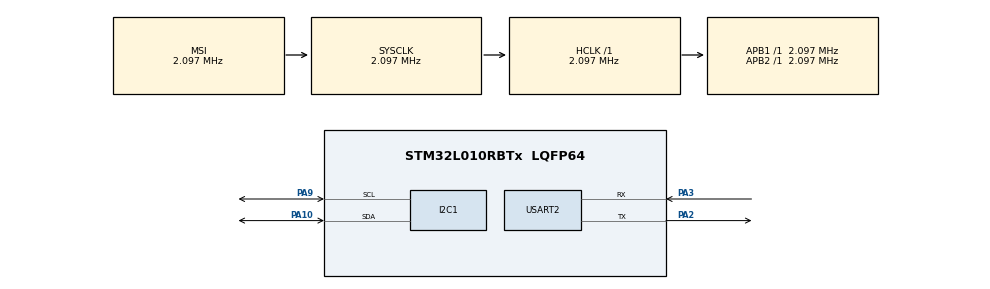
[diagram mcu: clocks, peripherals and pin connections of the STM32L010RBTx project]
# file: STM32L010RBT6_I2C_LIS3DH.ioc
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I2C1.Timing=0x00000608
Mcu.Family=STM32L0
Mcu.Name=STM32L010RBTx
Mcu.Package=LQFP64
PA10.Mode=I2C
PA10.Signal=I2C1_SDA
PA2.Mode=Asynchronous
PA2.Signal=USART2_TX
PA3.Mode=Asynchronous
PA3.Signal=USART2_RX
PA9.Mode=I2C
PA9.Signal=I2C1_SCL
ProjectManager.HeapSize=0x200
ProjectManager.StackSize=0x400
ProjectManager.TargetToolchain=STM32CubeIDE
RCC.AHBFreq_Value=2097000
RCC.APB1Freq_Value=2097000
RCC.APB1TimFreq_Value=2097000
RCC.APB2Freq_Value=2097000
RCC.APB2TimFreq_Value=2097000
RCC.HSE_VALUE=8000000
RCC.HSI16_VALUE=16000000
RCC.HSI_VALUE=16000000
RCC.LSE_VALUE=32768
RCC.MSI_VALUE=2097000
RCC.SYSCLKFreq_VALUE=2097000
RCC.VCOOutputFreq_Value=48000000
USART2.VirtualMode-Asynchronous=VM_ASYNC
board=custom

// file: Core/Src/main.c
/* USER CODE BEGIN Header */
/**
  ******************************************************************************
  * @file           : main.c
  * @brief          : Main program body
  ******************************************************************************
  * @attention
  *
  * Copyright (c) 2025 STMicroelectronics.
  * All rights reserved.
  *
  * This software is licensed under terms that can be found in the LICENSE file
  * in the root directory of this software component.
  * If no LICENSE file comes with this software, it is provided AS-IS.
  *
  ******************************************************************************
  */
/* USER CODE END Header */
#include "main.h"

/* USER CODE BEGIN Includes */
#include <stdio.h>
#include <string.h>

/* USER CODE END Includes */

/* USER CODE BEGIN PD */
#define LIS3DH_ADDR        (0x19 << 1)  // 0x19 shifted left because STM32 HAL expects 8-bit address
#define LIS3DH_OUT_X_L     0x28
#define LIS3DH_OUT_X_H     0x29
#define LIS3DH_OUT_Y_L     0x2A
#define LIS3DH_OUT_Y_H     0x2B
#define LIS3DH_OUT_Z_L     0x2C
#define LIS3DH_OUT_Z_H     0x2D
#define LIS3DH_CTRL_REG1   0x20
#define LIS3DH_CTRL_REG4   0x23

char uart_buf[64];

/* USER CODE END PD */

I2C_HandleTypeDef hi2c1;

UART_HandleTypeDef huart2;

void SystemClock_Config(void);
static void MX_GPIO_Init(void);
static void MX_I2C1_Init(void);
static void MX_USART2_UART_Init(void);
/* USER CODE BEGIN PFP */
void LIS3DH_WriteRegister(uint8_t reg, uint8_t value);
uint8_t LIS3DH_ReadRegister(uint8_t reg);
void LIS3DH_Init(void);
int16_t LIS3DH_ReadAxis(uint8_t regL, uint8_t regH);
void LIS3DH_Print_Acceleration(void);
/* USER CODE END PFP */

/* USER CODE BEGIN 0 */
// Write one register
void LIS3DH_WriteRegister(uint8_t reg, uint8_t value) {
    HAL_I2C_Mem_Write(&hi2c1, LIS3DH_ADDR, reg, I2C_MEMADD_SIZE_8BIT, &value, 1, HAL_MAX_DELAY);
}

// Read one register
uint8_t LIS3DH_ReadRegister(uint8_t reg) {
    uint8_t value;
    HAL_I2C_Mem_Read(&hi2c1, LIS3DH_ADDR, reg, I2C_MEMADD_SIZE_8BIT, &value, 1, HAL_MAX_DELAY);
    return value;
}

// Initialize LIS3DH
void LIS3DH_Init(void) {
    // Enable X, Y, Z axes and set data rate to 10Hz
    LIS3DH_WriteRegister(LIS3DH_CTRL_REG1, 0x27);

    // High-resolution mode, +/- 2g scale
    LIS3DH_WriteRegister(LIS3DH_CTRL_REG4, 0x08);
}

// Read raw 16-bit acceleration for one axis
int16_t LIS3DH_ReadAxis(uint8_t regL, uint8_t regH) {
    uint8_t lsb = LIS3DH_ReadRegister(regL);
    uint8_t msb = LIS3DH_ReadRegister(regH);
    return (int16_t)((msb << 8) | lsb);
}

// Print accelerometer values
void LIS3DH_Print_Acceleration(void) {
    char msg[128];

    int16_t x_raw = LIS3DH_ReadAxis(LIS3DH_OUT_X_L, LIS3DH_OUT_X_H);
    int16_t y_raw = LIS3DH_ReadAxis(LIS3DH_OUT_Y_L, LIS3DH_OUT_Y_H);
    int16_t z_raw = LIS3DH_ReadAxis(LIS3DH_OUT_Z_L, LIS3DH_OUT_Z_H);

    // In High-Resolution mode, sensitivity is 1 mg/LSB (for ±2g range)
    float x = x_raw * 0.001f;
    float y = y_raw * 0.001f;
    float z = z_raw * 0.001f;

    int len = snprintf(msg, sizeof(msg), "X: %.3f g, Y: %.3f g, Z: %.3f g\r\n", x, y, z);
    HAL_UART_Transmit(&huart2, (uint8_t*)msg, len, HAL_MAX_DELAY);
}
/* USER CODE END 0 */

int main(void)
{

  /* MCU Configuration--------------------------------------------------------*/

  /* Reset of all peripherals, Initializes the Flash interface and the Systick. */
  HAL_Init();

  /* Configure the system clock */
  SystemClock_Config();

  /* Initialize all configured peripherals */
  MX_GPIO_Init();
  MX_I2C1_Init();
  MX_USART2_UART_Init();
  /* USER CODE BEGIN 2 */
  LIS3DH_Init(); // Initialize accelerometer
  /* USER CODE END 2 */

  /* Infinite loop */
  /* USER CODE BEGIN WHILE */
  while (1)
  {
	  LIS3DH_Print_Acceleration();
	      HAL_Delay(1000);
    /* USER CODE END WHILE */

  }
}

void SystemClock_Config(void)
{
  RCC_OscInitTypeDef RCC_OscInitStruct = {0};
  RCC_ClkInitTypeDef RCC_ClkInitStruct = {0};
  RCC_PeriphCLKInitTypeDef PeriphClkInit = {0};

  /** Configure the main internal regulator output voltage
  */
  __HAL_PWR_VOLTAGESCALING_CONFIG(PWR_REGULATOR_VOLTAGE_SCALE1);

  /** Initializes the RCC Oscillators according to the specified parameters
  * in the RCC_OscInitTypeDef structure.
  */
  RCC_OscInitStruct.OscillatorType = RCC_OSCILLATORTYPE_MSI;
  RCC_OscInitStruct.MSIState = RCC_MSI_ON;
  RCC_OscInitStruct.MSICalibrationValue = 0;
  RCC_OscInitStruct.MSIClockRange = RCC_MSIRANGE_5;
  RCC_OscInitStruct.PLL.PLLState = RCC_PLL_NONE;
  if (HAL_RCC_OscConfig(&RCC_OscInitStruct) != HAL_OK)
  {
    Error_Handler();
  }

  /** Initializes the CPU, AHB and APB buses clocks
  */
  RCC_ClkInitStruct.ClockType = RCC_CLOCKTYPE_HCLK|RCC_CLOCKTYPE_SYSCLK
                              |RCC_CLOCKTYPE_PCLK1|RCC_CLOCKTYPE_PCLK2;
  RCC_ClkInitStruct.SYSCLKSource = RCC_SYSCLKSOURCE_MSI;
  RCC_ClkInitStruct.AHBCLKDivider = RCC_SYSCLK_DIV1;
  RCC_ClkInitStruct.APB1CLKDivider = RCC_HCLK_DIV1;
  RCC_ClkInitStruct.APB2CLKDivider = RCC_HCLK_DIV1;

  if (HAL_RCC_ClockConfig(&RCC_ClkInitStruct, FLASH_LATENCY_0) != HAL_OK)
  {
    Error_Handler();
  }
  PeriphClkInit.PeriphClockSelection = RCC_PERIPHCLK_USART2|RCC_PERIPHCLK_I2C1;
  PeriphClkInit.Usart2ClockSelection = RCC_USART2CLKSOURCE_PCLK1;
  PeriphClkInit.I2c1ClockSelection = RCC_I2C1CLKSOURCE_PCLK1;
  if (HAL_RCCEx_PeriphCLKConfig(&PeriphClkInit) != HAL_OK)
  {
    Error_Handler();
  }
}

static void MX_I2C1_Init(void)
{

  hi2c1.Instance = I2C1;
  hi2c1.Init.Timing = 0x00000608;
  hi2c1.Init.OwnAddress1 = 0;
  hi2c1.Init.AddressingMode = I2C_ADDRESSINGMODE_7BIT;
  hi2c1.Init.DualAddressMode = I2C_DUALADDRESS_DISABLE;
  hi2c1.Init.OwnAddress2 = 0;
  hi2c1.Init.OwnAddress2Masks = I2C_OA2_NOMASK;
  hi2c1.Init.GeneralCallMode = I2C_GENERALCALL_DISABLE;
  hi2c1.Init.NoStretchMode = I2C_NOSTRETCH_DISABLE;
  if (HAL_I2C_Init(&hi2c1) != HAL_OK)
  {
    Error_Handler();
  }

  /** Configure Analogue filter
  */
  if (HAL_I2CEx_ConfigAnalogFilter(&hi2c1, I2C_ANALOGFILTER_ENABLE) != HAL_OK)
  {
    Error_Handler();
  }

  /** Configure Digital filter
  */
  if (HAL_I2CEx_ConfigDigitalFilter(&hi2c1, 0) != HAL_OK)
  {
    Error_Handler();
  }

}

static void MX_USART2_UART_Init(void)
{

  huart2.Instance = USART2;
  huart2.Init.BaudRate = 115200;
  huart2.Init.WordLength = UART_WORDLENGTH_8B;
  huart2.Init.StopBits = UART_STOPBITS_1;
  huart2.Init.Parity = UART_PARITY_NONE;
  huart2.Init.Mode = UART_MODE_TX_RX;
  huart2.Init.HwFlowCtl = UART_HWCONTROL_NONE;
  huart2.Init.OverSampling = UART_OVERSAMPLING_16;
  huart2.Init.OneBitSampling = UART_ONE_BIT_SAMPLE_DISABLE;
  huart2.AdvancedInit.AdvFeatureInit = UART_ADVFEATURE_NO_INIT;
  if (HAL_UART_Init(&huart2) != HAL_OK)
  {
    Error_Handler();
  }

}

static void MX_GPIO_Init(void)
{

  /* GPIO Ports Clock Enable */
  __HAL_RCC_GPIOA_CLK_ENABLE();

}

void Error_Handler(void)
{
  __disable_irq();
  while (1)
  {
  }
}
